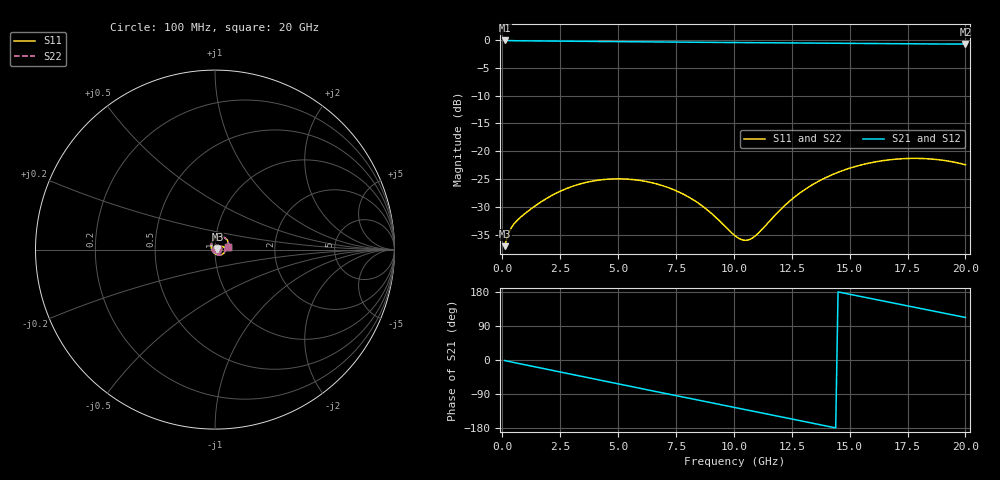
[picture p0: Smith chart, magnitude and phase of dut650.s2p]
! Touchstone file exported from HFSS 2026.1.0
!  File:  C:/ffzhzh/LocalFiles/Ansys_Project_Files/temp_train_TSV_RDL_650_1783129349_53076.aedt
!  Generated:  09:49:35 AM Jul  4, 2026
!  Design:  TSV_RDL
!  Project:  temp_train_TSV_RDL_650_1783129349_53076
! Variables:
!  h_bsmrdl = 4.34um
!  h_ox = 20um
!  h_rdl = 5um
!  h_sub = 72.14um
!  h_tmrdl = 3.63um
!  h_tsv = 72.14um
!  h_via = 3um
!  l_bsmrdl = 876.74um
!  l_sub = 3991.45um
!  l_tmrdl = 204.78um
!  m_sub = 200um
!  pitch = 34.07um
!  r_tsv = 14.32um
!  s_tmrdl = 10um
!  w_bsmrdl = 26.83um
!  w_sub = 500um
!  w_tmrdl = 20.54um
!  x_tsv_center1 = 215.05um
!  x_tsv_center2 = 1118.62um
!  x_tsv_center3 = 1343.94um
!  x_tsv_center4 = 2247.51um
!  x_tsv_center5 = 2472.83um
!  x_tsv_center6 = 3376.4um
# GHz S MA R 50.000000
! Terminal data exported
! Port[1] = TM_RDL1_1_T1
! Port[2] = TM_RDL5_1_T1
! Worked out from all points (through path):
!   200 points, 100 MHz to 20 GHz, reference 50 ohm
!   highest |S21| = -0.12 dB at 100 MHz (marker M1); lowest = -0.8 dB at 20 GHz (marker M2)
!   group delay of S21, straight-line fit = 34.3 ps
!   lowest |S11| = -37.0 dB at 100 MHz (marker M3), VSWR 1.03, Z = 51.4 + j0.37 ohm
!   |S11| at or under -10 dB: start of sweep to end of sweep
!   |S22| runs from -37.0 to -21.3 dB; largest |S21 - S12| = 2e-13
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0.1  0.01405 14.8  0.9865 -1.4  0.9865 -1.4  0.01405 14.8
! Gamma 0 0 0 0
! Port Impedance 50 0 50 0
0.3  0.01887 24.5  0.9834 -4.1  0.9834 -4.1  0.01887 24.5
0.4  0.02072 25.3  0.9821 -5.3  0.9821 -5.3  0.02072 25.3
1  0.02778 28.0  0.9785 -12.9  0.9785 -12.9  0.02778 28.0
2.2  0.04072 26.0  0.9745 -28.0  0.9745 -28.0  0.04072 26.1
3.5  0.05176 14.4  0.9692 -44.3  0.9692 -44.3  0.05175 14.4
4.4  0.05574 3.8  0.9654 -55.5  0.9654 -55.5  0.05573 3.9
5.2  0.05642 -6.4  0.9621 -65.5  0.9621 -65.5  0.05641 -6.4
6.8  0.04996 -29.2  0.956 -85.3  0.956 -85.3  0.04993 -29.2
7.6  0.04331 -42.4  0.9532 -95.2  0.9532 -95.2  0.04326 -42.3
8.4  0.03495 -57.9  0.9505 -105.1  0.9505 -105.1  0.03488 -57.8
9.2  0.02573 -79.0  0.9478 -115.0  0.9478 -115.0  0.02564 -78.9
10.1  0.01713 -120.0  0.9446 -126.2  0.9446 -126.2  0.01699 -120.0
10.5  0.01585 -147.3  0.9432 -131.1  0.9432 -131.1  0.01571 -147.4
10.8  0.01662 -168.4  0.9421 -134.8  0.9421 -134.8  0.01649 -168.7
12.3  0.03404 128.1  0.9364 -153.3  0.9364 -153.3  0.03402 127.8
13.4  0.05012 105.1  0.9322 -166.9  0.9322 -166.9  0.05013 104.9
15  0.07038 79.7  0.9264 173.5  0.9264 173.5  0.07043 79.5
15.8  0.0779 68.4  0.9238 163.7  0.9238 163.7  0.07797 68.1
16.7  0.08366 56.1  0.9213 152.7  0.9213 152.7  0.08374 55.8
18.4  0.08547 33.6  0.9176 131.9  0.9176 131.9  0.08557 33.3
20  0.0756 12.6  0.9153 112.2  0.9153 112.2  0.07572 12.2
